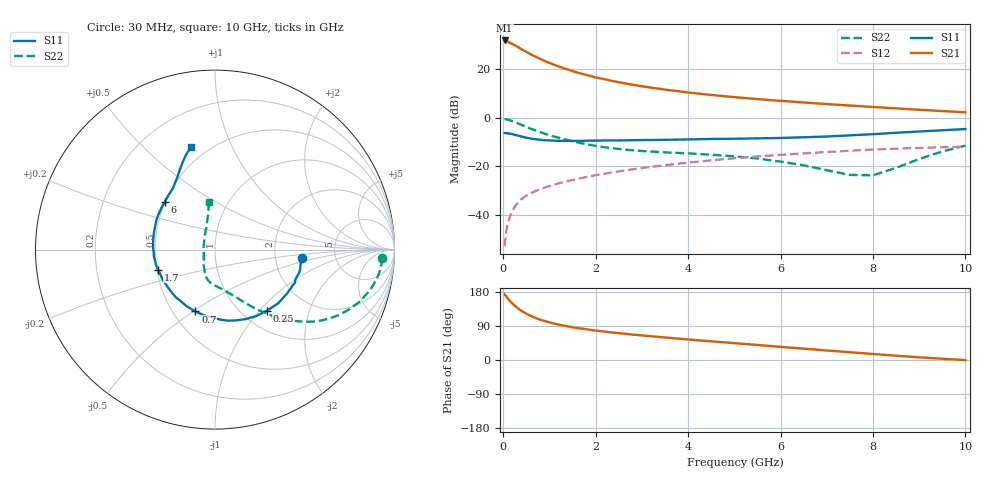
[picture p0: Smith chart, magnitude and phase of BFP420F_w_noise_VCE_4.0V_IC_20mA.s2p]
! Infineon Technologies  Discrete & RF Semiconductors
! BFP420F
! VCE =  4.0 V,  IC =  20 mA
! Common Emitter S-Parameters:  Sep 2011
# GHz  S  MA  R  50
!  f  S11  S21  S12  S22
! GHz  MAG  ANG  MAG  ANG  MAG  ANG  MAG  ANG
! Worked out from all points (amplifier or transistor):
!   54 points, 30 MHz to 10 GHz, reference 50 ohm
!   highest |S21| = 31.8 dB at 30 MHz (marker M1)
!   |S21| within 3 dB of that: start of sweep to 343.1 MHz
!   unconditionally stable (mu >= 1): 1.691 GHz to end of sweep
!   at 120 MHz: K = 0.39, MSG = 36.6 dB, |S12| = -42.2 dB
!   at 1.3 GHz: K = 0.90, MSG = 23.5 dB, |S12| = -26.5 dB
!   at 10 GHz: K = 1.24, MAG = 4.1 dB, |S12| = -11.8 dB
!   lowest NFmin = 1.53 dB at 450 MHz
!   S11 on the Smith chart (normalised r, x): 30 MHz: 2.85, -0.34; 250 MHz: 1.29, -1.10; 700 MHz: 0.64, -0.51; 1.7 GHz: 0.51, -0.13; 6 GHz: 0.50, +0.31; 10 GHz: 0.41, +0.71
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0.03  0.4874 -5.4  38.84 173.4  0.0023 61.4  0.9319 -2.8
0.05  0.4836 -9.9  38.07 169.8  0.0033 69.3  0.9304 -5.2
0.07  0.4868 -15.1  37.78 167.1  0.0049 71.8  0.9254 -7.5
0.12  0.4758 -25.0  35.99 159.1  0.0078 73.2  0.9027 -12.8
0.2  0.4619 -40.5  32.73 149.1  0.0123 71.5  0.8529 -20.2
0.25  0.4466 -49.7  30.74 143.3  0.0148 70.1  0.8169 -24.1
0.3  0.4355 -58.2  29.06 138.2  0.0173 68.7  0.7829 -27.7
0.35  0.4233 -66.2  27.25 133.6  0.0195 67.4  0.7467 -30.8
0.45  0.4018 -80.0  24.1 125.7  0.0234 65.1  0.6821 -36.0
0.6  0.3742 -97.9  20.09 116.1  0.0282 63.0  0.5946 -42.0
0.7  0.3617 -107.6  18.05 110.9  0.0313 62.4  0.5488 -45.2
0.9  0.3452 -123.5  14.68 102.7  0.0368 61.6  0.4713 -50.2
1.1  0.3387 -135.9  12.33 96.2  0.0422 61.3  0.4122 -54.4
1.5  0.3345 -154.3  9.135 86.2  0.0527 61.2  0.3302 -61.4
1.7  0.3361 -160.7  8.029 82.9  0.0579 61.0  0.2991 -64.8
2.4  0.3418 -177.7  5.596 72.0  0.0767 59.5  0.2346 -77.0
3.5  0.3532 164.5  3.796 59.5  0.1063 55.7  0.1953 -92.5
5.5  0.3777 142.5  2.425 39.6  0.1603 44.9  0.1456 -112.6
6  0.3849 136.8  2.23 34.8  0.1732 41.9  0.1258 -118.0
7  0.4123 125.0  1.915 25.1  0.1978 35.6  0.0838 -138.5
8.5  0.4923 113.1  1.562 11.3  0.2318 25.2  0.0934 128.2
10  0.5878 103.0  1.298 -0.3  0.2558 15.9  0.268 97.2
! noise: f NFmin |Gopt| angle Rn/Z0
0.45  1.53  0.18  -179  0.15
0.9  1.54  0.18  -179  0.17
1.9  1.66  0.26  -170  0.15
2.4  1.72  0.27  -165  0.11
3.5  1.96  0.29  -155  0.15
